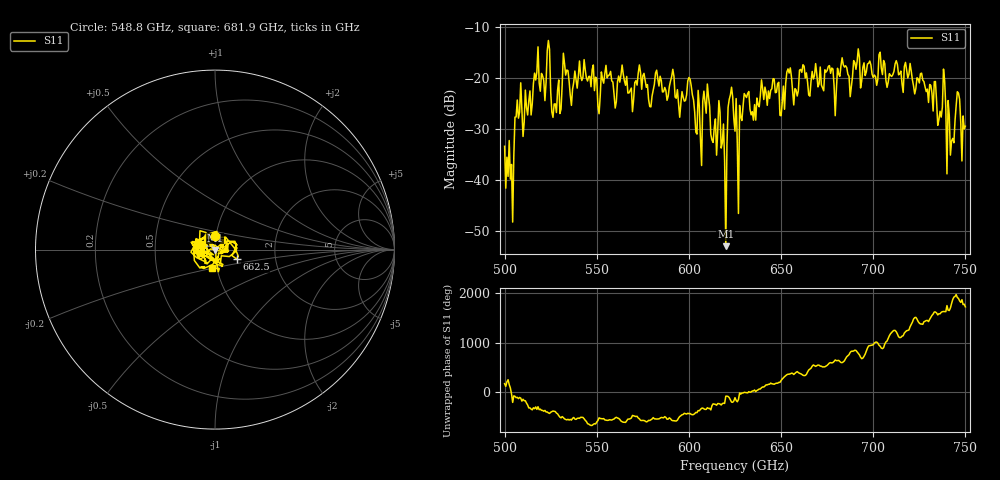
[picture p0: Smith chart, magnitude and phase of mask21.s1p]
!Created with skrf (http://scikit-rf.org).
# GHz S MA R 50.0
!freq magS11 angS11
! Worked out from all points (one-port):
!   401 points, 500 GHz to 750 GHz, reference 50 ohm
!   lowest |S11| = -53.1 dB at 620 GHz (marker M1), VSWR 1.00, Z = 50 - j0.217 ohm
!   |S11| at or under -10 dB: start of sweep to end of sweep
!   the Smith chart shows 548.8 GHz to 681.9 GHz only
!   S11 on the Smith chart (normalised r, x): 548.8 GHz: 0.99, +0.15; 662.5 GHz: 1.27, -0.13; 681.9 GHz: 0.95, -0.20
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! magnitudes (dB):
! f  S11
! 500 GHz  -33.4
! 503.1 GHz  -39.9
! 507.5 GHz  -27.9
! 513.8 GHz  -22.5
! 516.9 GHz  -20.4
! 523.8 GHz  -12.6
! 526.9 GHz  -25.1
! 531.2 GHz  -21.2
! 548.8 GHz  -22.5
! 562.5 GHz  -20.8
! 593.8 GHz  -22.3
! 600.6 GHz  -20.2
! 605.6 GHz  -25.5
! 609.4 GHz  -26.9
! 620 GHz  -53.1
! 622.5 GHz  -23.3
! 625 GHz  -30.4
! 627.5 GHz  -25.4
! 631.2 GHz  -23.8
! 656.2 GHz  -22.6
! 662.5 GHz  -17.7
! 681.9 GHz  -19.6
! 687.5 GHz  -23.7
! 718.8 GHz  -20.0
! 738.1 GHz  -18.2
! 741.2 GHz  -27.3
! 745.6 GHz  -22.7
! 750 GHz  -29.5
